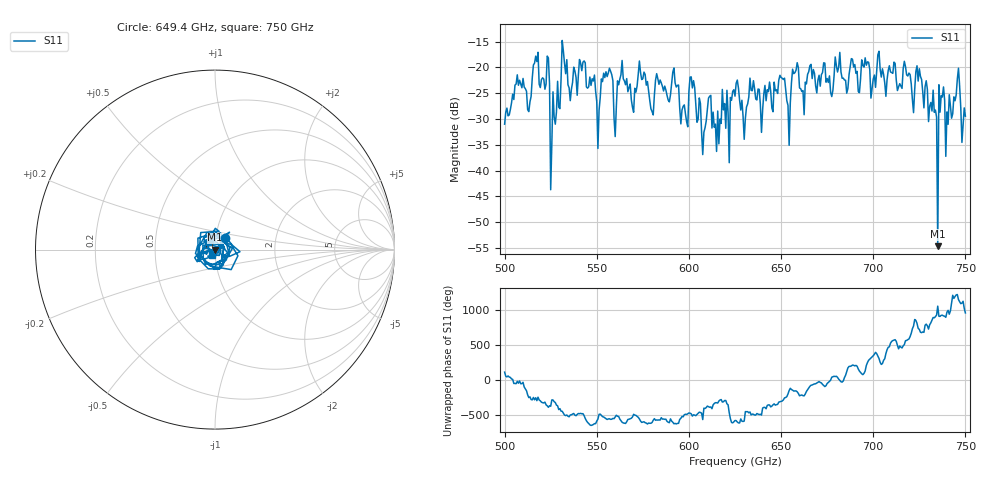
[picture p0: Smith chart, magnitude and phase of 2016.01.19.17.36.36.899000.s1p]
!Created with skrf (http://scikit-rf.org).
# GHz S RI R 50.0
!freq ReS11 ImS11
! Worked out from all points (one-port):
!   401 points, 500 GHz to 750 GHz, reference 50 ohm
!   lowest |S11| = -54.6 dB at 735 GHz (marker M1), VSWR 1.00, Z = 50.2 - j0.0714 ohm
!   |S11| at or under -10 dB: start of sweep to end of sweep
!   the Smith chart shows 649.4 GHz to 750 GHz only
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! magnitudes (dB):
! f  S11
! 500 GHz  -31.0
! 506.9 GHz  -21.4
! 513.1 GHz  -28.6
! 516.9 GHz  -17.8
! 523.1 GHz  -17.8
! 526.2 GHz  -24.7
! 531.2 GHz  -14.8
! 542.5 GHz  -19.0
! 550.6 GHz  -35.7
! 553.8 GHz  -21.1
! 560.6 GHz  -27.6
! 562.5 GHz  -22.3
! 593.8 GHz  -23.5
! 598.1 GHz  -29.0
! 601.9 GHz  -24.0
! 608.1 GHz  -32.6
! 625 GHz  -25.6
! 630.6 GHz  -29.9
! 634.4 GHz  -24.5
! 650.6 GHz  -22.1
! 653.8 GHz  -27.4
! 656.2 GHz  -20.4
! 687.5 GHz  -19.8
! 718.8 GHz  -21.7
! 735 GHz  -54.6
! 736.9 GHz  -25.4
! 745.6 GHz  -22.3
! 750 GHz  -29.4
